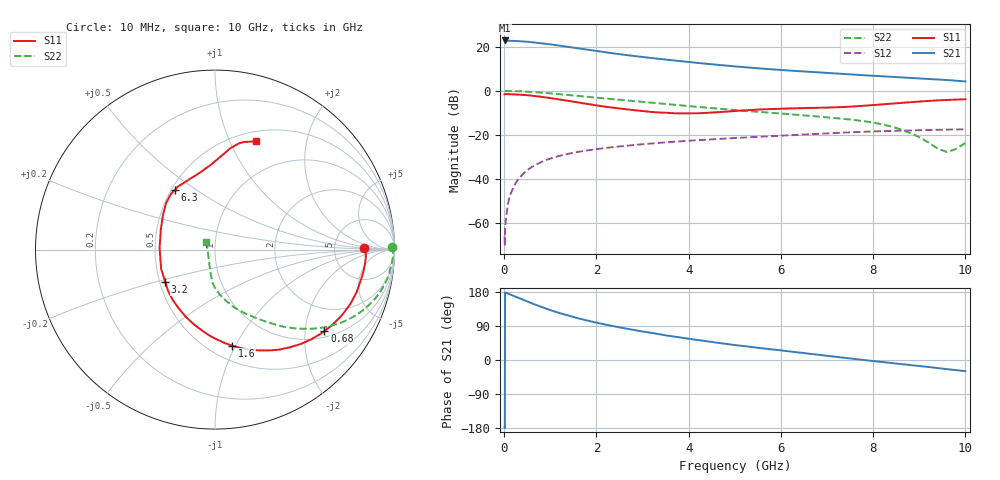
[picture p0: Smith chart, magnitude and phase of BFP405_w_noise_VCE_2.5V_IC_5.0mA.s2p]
! Infineon Technologies  Discrete & RF Semiconductors
! BFP405
! VCE =  2.5 V,  IC =  5.0 mA
! Common Emitter S-Parameters:  Jan 2016
# GHz  S  MA  R  50
!  f  S11  S21  S12  S22
! GHz  MAG  ANG  MAG  ANG  MAG  ANG  MAG  ANG
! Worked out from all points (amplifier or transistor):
!   233 points, 10 MHz to 10 GHz, reference 50 ohm
!   highest |S21| = 22.8 dB at 10 MHz (marker M1)
!   |S21| within 3 dB of that: start of sweep to 1.412 GHz
!   unconditionally stable (mu >= 1): start of sweep to 15.93 MHz; 3.391 GHz to end of sweep
!   at 200 MHz: K = 0.09, MSG = 33.3 dB, |S12| = -43.9 dB
!   at 1.74 GHz: K = 0.55, MSG = 23.0 dB, |S12| = -27.2 dB
!   at 10 GHz: K = 1.46, MAG = 6.8 dB, |S12| = -17.4 dB
!   lowest NFmin = 1.22 dB at 900 MHz
!   S11 on the Smith chart (normalised r, x): 10 MHz: 11, +1; 680 MHz: 1.18, -2.53; 1.6 GHz: 0.64, -0.97; 3.2 GHz: 0.54, -0.22; 6.3 GHz: 0.52, +0.42; 10 GHz: 0.61, +1.26
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0.01  0.8311 0.7  13.87 -177.7  0.0005 -53.8  0.988 1.0
0.015  0.8355 -0.2  13.8 -179.7  0.0003 49.7  0.9882 0.4
0.02  0.8401 -1.0  13.75 178.2  0.0008 87.1  0.9885 -0.1
0.105  0.8392 -5.7  13.66 174.0  0.0035 86.3  0.9917 -2.6
0.24  0.8277 -13.2  13.54 167.3  0.0078 83.3  0.981 -6.3
0.46  0.802 -25.1  13.07 156.2  0.0146 77.9  0.9633 -11.9
0.68  0.7597 -36.7  12.41 145.8  0.0209 72.5  0.9317 -17.1
0.9  0.711 -47.7  11.69 135.9  0.0267 67.8  0.8943 -21.9
1.1  0.6624 -57.3  10.96 127.7  0.0314 63.8  0.8578 -25.8
1.6  0.5445 -79.7  9.19 110.1  0.0412 56.0  0.7656 -34.0
1.68  0.5284 -83.0  8.921 107.6  0.0426 55.0  0.7516 -35.0
2  0.4675 -96.6  7.967 98.5  0.0477 51.2  0.6994 -39.1
2.4  0.4088 -113.4  6.981 88.4  0.0534 47.3  0.641 -43.5
3.2  0.3308 -146.9  5.532 71.5  0.064 40.8  0.5387 -51.0
3.4  0.3207 -155.7  5.247 67.3  0.0665 39.3  0.5149 -52.9
4  0.3088 178.3  4.506 55.8  0.0738 35.0  0.4503 -58.5
5.1  0.3543 143.8  3.508 38.1  0.086 27.5  0.36 -68.9
6.3  0.4014 123.7  2.83 21.1  0.0996 20.0  0.2887 -78.2
6.8  0.4111 114.7  2.618 14.0  0.1058 16.7  0.2612 -82.3
8.4  0.5126 87.3  2.067 -8.0  0.1234 3.8  0.1543 -97.7
9.6  0.621 74.9  1.757 -24.1  0.132 -5.4  0.0409 -170.7
10  0.6444 69.3  1.632 -29.5  0.1342 -8.1  0.0655 137.6
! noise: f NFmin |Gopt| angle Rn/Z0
0.9  1.22  0.36  11  0.33
1.8  1.49  0.28  18  0.31
2.4  1.64  0.24  26  0.31
3  1.66  0.21  44  0.29
4  1.83  0.1  66  0.25
5  2.19  0.05  139  0.23
